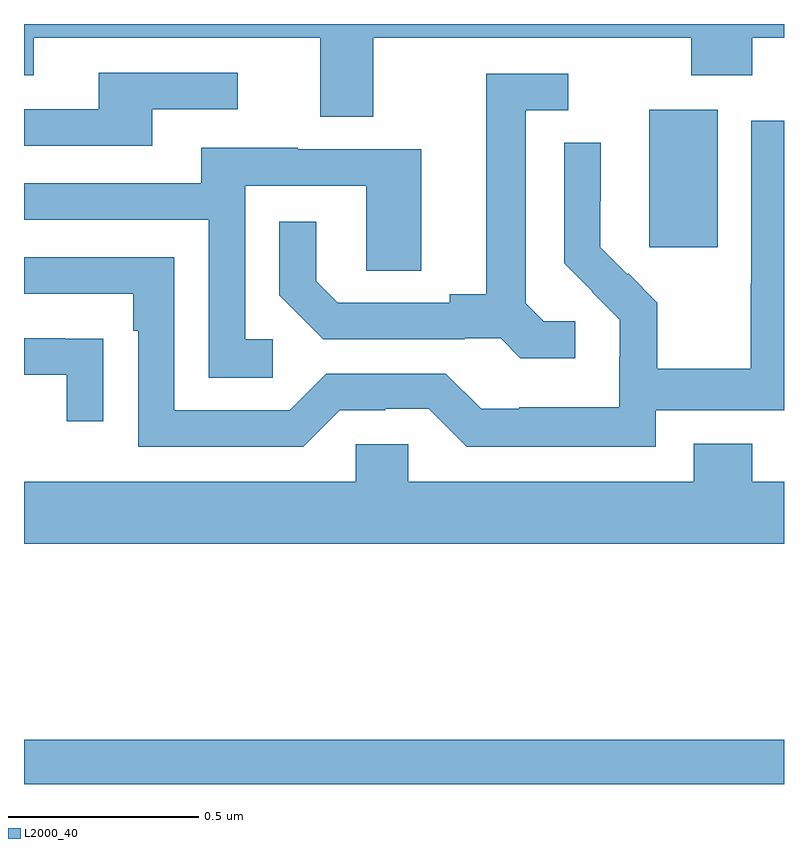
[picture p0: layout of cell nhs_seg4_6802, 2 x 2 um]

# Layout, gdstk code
import gdstk
lib = gdstk.Library(unit=1e-6, precision=1e-09)
def R(c, l, rs):  # rectangles x0, y0, x1, y1
    for r in rs: c.add(gdstk.rectangle(r[:2], r[2:], *l))
def P(c, l, *ps):  # polygons
    for p in ps: c.add(gdstk.Polygon(p, *l))
L2000_40 = (2000, 40)

nhs_seg4_6802 = lib.new_cell('nhs_seg4_6802')
R(nhs_seg4_6802, L2000_40, [(195,750.9,197,751.016), (196.646,752.313,196.825,752.674)])
P(nhs_seg4_6802, L2000_40, [(195.919,752.864),(196.756,752.864),(196.756,752.765),(196.916,752.765),(196.916,752.864),(197,752.864),(197,752.9),(195,752.9),(195,752.765),(195.025,752.765),(195.025,752.864),(195.779,752.864),(195.779,752.656),(195.919,752.656)],
  [(195.337,752.676),(195.562,752.676),(195.562,752.772),(195.197,752.772),(195.197,752.676),(195,752.676),(195,752.58),(195.337,752.58)],
  [(196.45,752.118),(196.368,752.118),(196.321,752.165),(196.321,752.673),(196.432,752.673),(196.432,752.769),(196.217,752.769),(196.217,752.189),(196.121,752.189),(196.121,752.166),(195.826,752.166),(195.769,752.223),(195.769,752.38),(195.672,752.38),(195.672,752.186),(195.788,752.07),(196.16,752.07),(196.16,752.073),(196.254,752.073),(196.306,752.021),(196.45,752.021)],
  [(196.662,751.884),(197,751.884),(197,752.646),(196.914,752.646),(196.914,752.216),(196.912,752.216),(196.912,751.993),(196.667,751.993),(196.667,752.167),(196.59,752.244),(196.587,752.241),(196.517,752.312),(196.517,752.434),(196.518,752.434),(196.518,752.588),(196.422,752.588),(196.422,752.27),(196.495,752.197),(196.494,752.196),(196.568,752.122),(196.568,752.025),(196.566,752.025),(196.566,751.891),(196.303,751.891),(196.303,751.887),(196.203,751.887),(196.11,751.98),(195.795,751.98),(195.699,751.884),(195.396,751.884),(195.396,752.286),(195,752.286),(195,752.19),(195.287,752.19),(195.287,752.093),(195.3,752.093),(195.3,751.788),(195.735,751.788),(195.831,751.884),(195.95,751.884),(195.95,751.887),(196.065,751.887),(196.165,751.787),(196.662,751.787)],
  [(195.655,752.07),(195.582,752.07),(195.582,752.475),(195.9,752.475),(195.9,752.251),(196.045,752.251),(196.045,752.571),(195.721,752.571),(195.721,752.575),(195.467,752.575),(195.467,752.481),(195,752.481),(195,752.385),(195.486,752.385),(195.486,751.969),(195.655,751.969)],
  [(195.209,752.072),(195.107,752.072),(195.107,752.073),(195,752.073),(195,751.977),(195.113,751.977),(195.113,751.854),(195.209,751.854)],
  [(197,751.696),(196.916,751.696),(196.916,751.795),(196.763,751.795),(196.763,751.696),(196.011,751.696),(196.011,751.794),(195.873,751.794),(195.873,751.696),(195,751.696),(195,751.532),(197,751.532)])

lib.write_gds('nhs_seg4_6802.gds')
